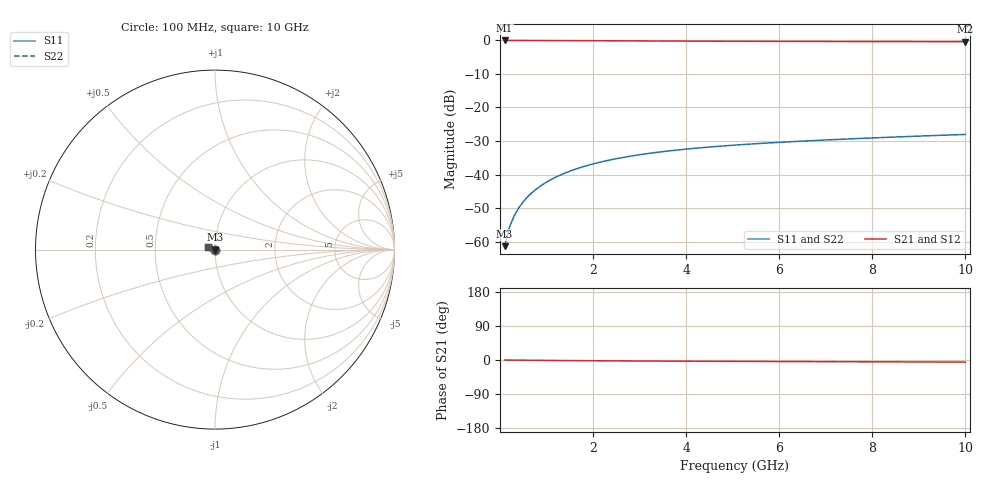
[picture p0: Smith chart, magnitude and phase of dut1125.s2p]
! Touchstone file exported from HFSS 2024.1.0
!  File:  C:/UserFiles/LocalFiles/RDL_TSV_Batchsim/temp_TSV1_1125_1780069319.aedt
!  Generated:  11:47:45 PM May 29, 2026
!  Design:  TSV1
!  Project:  temp_TSV1_1125_1780069319
!  Setup:  Setup1
!  Solution:  Sweep
! Variables:
!  dtsv = 6.45um
!  hbump = 3um
!  htsv = 85.57um
!  lrdl = 252.1521522um
!  p = 40
!  p1 = 44.26um
!  t = 500um
!  trdl = 3um
!  wrdl = 24.89489489um
# GHz S MA R 50.000000
! Terminal data exported
! Port[1] = TSV22_T1
! Port[2] = TSV22_T2
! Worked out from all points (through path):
!   100 points, 100 MHz to 10 GHz, reference 50 ohm
!   highest |S21| = 0.00 dB at 100 MHz (marker M1); lowest = -0.4 dB at 10 GHz (marker M2)
!   lowest |S11| = -61.4 dB at 100 MHz (marker M3), VSWR 1.00, Z = 50 - j0.0786 ohm
!   |S11| at or under -10 dB: start of sweep to end of sweep
!   |S22| runs from -61.4 to -28.0 dB; largest |S21 - S12| = 4.4e-15
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0.1  0.0008538 -67.0  0.9996 -0.1  0.9996 -0.1  0.0008538 -67.0
! Gamma 0 0 0 0
! Port Impedance 50 0 50 0
0.2  0.001609 -80.7  0.9995 -0.2  0.9995 -0.2  0.001609 -80.7
0.3  0.002382 -86.8  0.9994 -0.3  0.9994 -0.3  0.002382 -86.8
0.4  0.003157 -90.8  0.9992 -0.4  0.9992 -0.4  0.003157 -90.8
0.5  0.00393 -94.0  0.999 -0.5  0.999 -0.5  0.00393 -94.0
0.6  0.004697 -96.7  0.9987 -0.6  0.9987 -0.6  0.004697 -96.7
0.7  0.005459 -99.1  0.9984 -0.8  0.9984 -0.8  0.005459 -99.1
0.8  0.006213 -101.4  0.998 -0.9  0.998 -0.9  0.006213 -101.4
0.9  0.006958 -103.6  0.9976 -1.0  0.9976 -1.0  0.006958 -103.6
1.1  0.008419 -107.6  0.9967 -1.2  0.9967 -1.2  0.008419 -107.6
1.4  0.01053 -113.3  0.995 -1.4  0.995 -1.4  0.01053 -113.3
1.6  0.01187 -117.0  0.9938 -1.6  0.9938 -1.6  0.01187 -117.0
1.8  0.01315 -120.4  0.9925 -1.8  0.9925 -1.8  0.01315 -120.4
2.1  0.01498 -125.4  0.9904 -2.0  0.9904 -2.0  0.01498 -125.4
2.5  0.01723 -131.6  0.9876 -2.3  0.9876 -2.3  0.01723 -131.6
2.9  0.01926 -137.4  0.9848 -2.6  0.9848 -2.6  0.01926 -137.4
3.4  0.02154 -144.2  0.9814 -2.9  0.9814 -2.9  0.02154 -144.2
4.2  0.02467 -153.8  0.9766 -3.3  0.9766 -3.3  0.02466 -153.8
5.1  0.02763 -163.2  0.972 -3.7  0.972 -3.7  0.02763 -163.2
6.7  0.03201 -177.2  0.9658 -4.3  0.9658 -4.3  0.03201 -177.2
8.4  0.03605 170.9  0.9613 -4.9  0.9613 -4.9  0.03605 170.9
10  0.03965 161.7  0.9583 -5.5  0.9583 -5.5  0.03965 161.7
